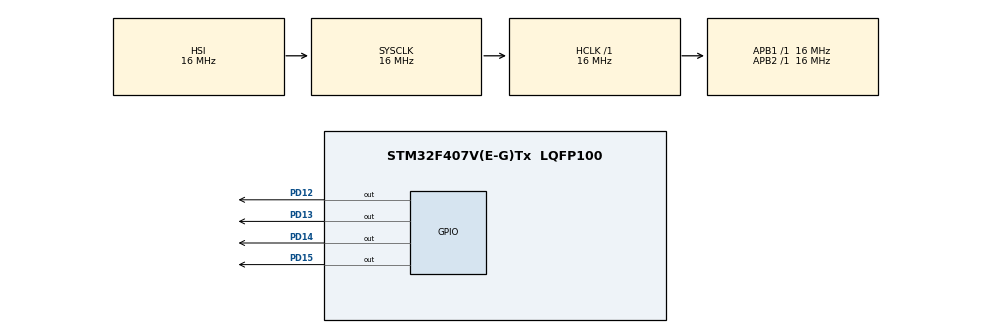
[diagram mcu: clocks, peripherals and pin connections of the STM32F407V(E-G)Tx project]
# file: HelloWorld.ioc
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Mcu.Family=STM32F4
Mcu.Name=STM32F407V(E-G)Tx
Mcu.Package=LQFP100
NVIC.PriorityGroup=NVIC_PRIORITYGROUP_4
PD12.Signal=GPIO_Output
PD13.Signal=GPIO_Output
PD14.Signal=GPIO_Output
PD15.Signal=GPIO_Output
ProjectManager.HeapSize=0x200
ProjectManager.StackSize=0x400
ProjectManager.TargetToolchain=STM32CubeIDE
RCC.AHBFreq_Value=16000000
RCC.APB1Freq_Value=16000000
RCC.APB2Freq_Value=16000000
RCC.CortexFreq_Value=16000000
RCC.HSE_VALUE=25000000
RCC.HSI_VALUE=16000000
RCC.LSE_VALUE=32768
RCC.SYSCLKFreq_VALUE=16000000
RCC.VCOOutputFreq_Value=192000000
board=custom

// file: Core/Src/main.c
/* USER CODE BEGIN Header */
/**
  ******************************************************************************
  * @file           : main.c
  * @brief          : Main program body
  ******************************************************************************
  * @attention
  *
  * <h2><center>&copy; Copyright (c) 2021 STMicroelectronics.
  * All rights reserved.</center></h2>
  *
  * This software component is licensed by ST under BSD 3-Clause license,
  * the "License"; You may not use this file except in compliance with the
  * License. You may obtain a copy of the License at:
  *                        opensource.org/licenses/BSD-3-Clause
  *
  ******************************************************************************
  */
/* USER CODE END Header */
#include "main.h"

void SystemClock_Config(void);
static void MX_GPIO_Init(void);

int main(void)
{

  /* MCU Configuration--------------------------------------------------------*/

  /* Reset of all peripherals, Initializes the Flash interface and the Systick. */
  HAL_Init();

  /* Configure the system clock */
  SystemClock_Config();

  /* Initialize all configured peripherals */
  MX_GPIO_Init();

  /* Infinite loop */
  /* USER CODE BEGIN WHILE */
  while (1)
  {
	  uint16_t pin;
	  for (int i = 0; i < 4; i++) {
		  switch (i) {
		  case 0:
			  pin = GPIO_PIN_12;
			  break;
		  case 1:
			  pin |= GPIO_PIN_13;
			  break;
		  case 2:
			  pin |= GPIO_PIN_14;
			  break;
		  case 3:
			  pin |= GPIO_PIN_15;
			  break;
		  }

		  HAL_GPIO_WritePin(GPIOD, pin, GPIO_PIN_SET);
		  HAL_Delay(500);

		  HAL_GPIO_WritePin(GPIOD, pin, GPIO_PIN_RESET);
		  HAL_Delay(500);
	  }

    /* USER CODE END WHILE */

  }
}

void SystemClock_Config(void)
{
  RCC_OscInitTypeDef RCC_OscInitStruct = {0};
  RCC_ClkInitTypeDef RCC_ClkInitStruct = {0};

  /** Configure the main internal regulator output voltage
  */
  __HAL_RCC_PWR_CLK_ENABLE();
  __HAL_PWR_VOLTAGESCALING_CONFIG(PWR_REGULATOR_VOLTAGE_SCALE1);
  /** Initializes the RCC Oscillators according to the specified parameters
  * in the RCC_OscInitTypeDef structure.
  */
  RCC_OscInitStruct.OscillatorType = RCC_OSCILLATORTYPE_HSI;
  RCC_OscInitStruct.HSIState = RCC_HSI_ON;
  RCC_OscInitStruct.HSICalibrationValue = RCC_HSICALIBRATION_DEFAULT;
  RCC_OscInitStruct.PLL.PLLState = RCC_PLL_NONE;
  if (HAL_RCC_OscConfig(&RCC_OscInitStruct) != HAL_OK)
  {
    Error_Handler();
  }
  /** Initializes the CPU, AHB and APB buses clocks
  */
  RCC_ClkInitStruct.ClockType = RCC_CLOCKTYPE_HCLK|RCC_CLOCKTYPE_SYSCLK
                              |RCC_CLOCKTYPE_PCLK1|RCC_CLOCKTYPE_PCLK2;
  RCC_ClkInitStruct.SYSCLKSource = RCC_SYSCLKSOURCE_HSI;
  RCC_ClkInitStruct.AHBCLKDivider = RCC_SYSCLK_DIV1;
  RCC_ClkInitStruct.APB1CLKDivider = RCC_HCLK_DIV1;
  RCC_ClkInitStruct.APB2CLKDivider = RCC_HCLK_DIV1;

  if (HAL_RCC_ClockConfig(&RCC_ClkInitStruct, FLASH_LATENCY_0) != HAL_OK)
  {
    Error_Handler();
  }
}

static void MX_GPIO_Init(void)
{
  GPIO_InitTypeDef GPIO_InitStruct = {0};

  /* GPIO Ports Clock Enable */
  __HAL_RCC_GPIOD_CLK_ENABLE();

  /*Configure GPIO pin Output Level */
  HAL_GPIO_WritePin(GPIOD, GPIO_PIN_12|GPIO_PIN_13|GPIO_PIN_14|GPIO_PIN_15, GPIO_PIN_RESET);

  /*Configure GPIO pins : PD12 PD13 PD14 PD15 */
  GPIO_InitStruct.Pin = GPIO_PIN_12|GPIO_PIN_13|GPIO_PIN_14|GPIO_PIN_15;
  GPIO_InitStruct.Mode = GPIO_MODE_OUTPUT_PP;
  GPIO_InitStruct.Pull = GPIO_NOPULL;
  GPIO_InitStruct.Speed = GPIO_SPEED_FREQ_LOW;
  HAL_GPIO_Init(GPIOD, &GPIO_InitStruct);

}

void Error_Handler(void)
{
  __disable_irq();
  while (1)
  {
  }
}

/************************ (C) COPYRIGHT STMicroelectronics *****END OF FILE****/
